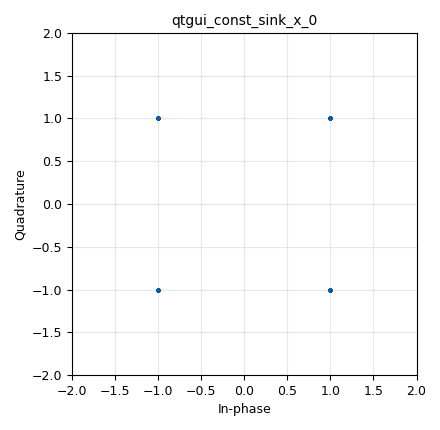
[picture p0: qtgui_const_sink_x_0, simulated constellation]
options:
  parameters:
    generate_options: qt_gui
    id: Bits2Symbols
    output_language: python
    title: Not titled yet
  states: {}

blocks:
- name: samp_rate
  id: variable
  parameters:
    value: '32000'
  states: {}
- name: blocks_vector_source_x_0
  id: blocks_vector_source_x
  parameters:
    repeat: 'True'
    type: int
    vector: (1, 1, 0, 0, 1, 0, 1, 1)
  states: {}
- name: digital_chunks_to_symbols_xx_0
  id: digital_chunks_to_symbols_xx
  parameters:
    dimension: '2'
    in_type: int
    out_type: complex
    symbol_table: '[1+1j, 1-1j, -1+1j, -1-1j]'
  states: {}
- name: qtgui_const_sink_x_0
  id: qtgui_const_sink_x
  parameters:
    size: '1024'
    type: complex
  states: {}

connections:
- [blocks_vector_source_x_0, '0', digital_chunks_to_symbols_xx_0, '0']
- [digital_chunks_to_symbols_xx_0, '0', qtgui_const_sink_x_0, '0']

metadata:
  file_format: 1
  grc_version: 3.10.10.0
